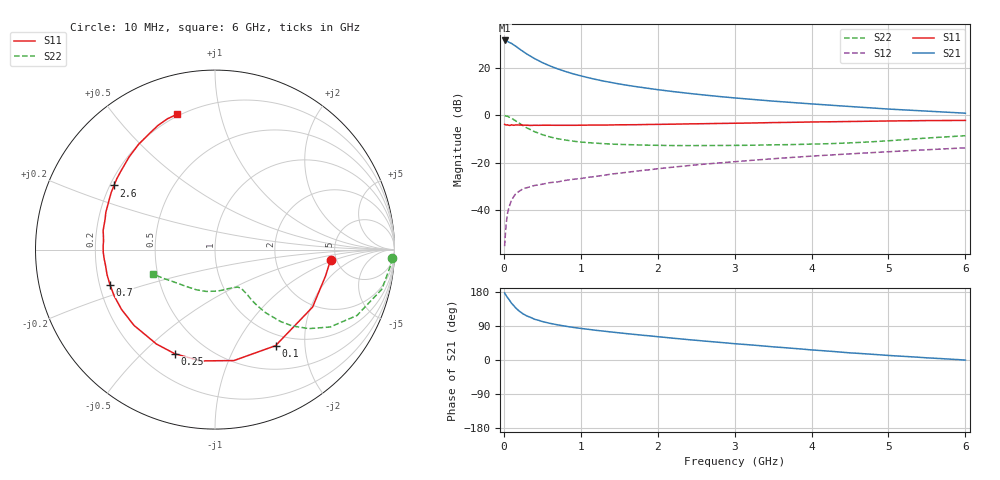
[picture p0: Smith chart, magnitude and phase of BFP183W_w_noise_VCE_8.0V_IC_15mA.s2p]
! Infineon Technologies  Discrete & RF Semiconductors
! BFP183W
! VCE =  8.0 V,  IC =  15 mA
! Common Emitter S-Parameters:  Jan 2017
# GHz  S  MA  R  50
!  f  S11  S21  S12  S22
! GHz  MAG  ANG  MAG  ANG  MAG  ANG  MAG  ANG
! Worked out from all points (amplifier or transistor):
!   77 points, 10 MHz to 6 GHz, reference 50 ohm
!   highest |S21| = 31.7 dB at 10 MHz (marker M1)
!   |S21| within 3 dB of that: start of sweep to 178 MHz
!   unconditionally stable (mu >= 1): 1.43 GHz to 3.721 GHz
!   at 130 MHz: K = 0.18, MSG = 32.1 dB, |S12| = -34.3 dB
!   at 2.2 GHz: K = 1.06, MAG = 14.5 dB, |S12| = -21.9 dB
!   at 6 GHz: K = 0.85, MSG = 7.3 dB, |S12| = -13.8 dB
!   lowest NFmin = 1.05 dB at 450 MHz
!   S11 on the Smith chart (normalised r, x): 10 MHz: 4.46, -0.91; 100 MHz: 0.83, -1.47; 250 MHz: 0.33, -0.63; 700 MHz: 0.24, -0.15; 2.6 GHz: 0.22, +0.28; 6 GHz: 0.19, +0.74
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0.01  0.6463 -5.3  38.59 177.1  0.0017 95.6  0.9881 -2.7
0.02  0.6328 -13.6  37.89 173.2  0.003 92.8  0.9814 -5.4
0.05  0.631 -30.5  36.73 164.0  0.0088 74.8  0.9554 -13.4
0.1  0.6327 -57.8  33.41 149.8  0.016 66.5  0.8722 -24.9
0.15  0.6271 -80.3  29.48 138.3  0.0214 58.8  0.7732 -33.9
0.2  0.6254 -97.3  25.73 129.0  0.0248 53.0  0.6834 -40.1
0.25  0.6219 -111.2  22.55 121.7  0.028 47.6  0.6059 -44.6
0.3  0.619 -121.8  19.84 116.1  0.0294 45.8  0.5412 -47.7
0.4  0.6181 -136.9  15.91 107.5  0.0328 43.0  0.4507 -51.3
0.5  0.6183 -147.4  13.11 101.5  0.0349 42.8  0.3905 -53.0
0.6  0.6183 -155.3  11.15 96.7  0.0377 43.0  0.3493 -54.0
0.7  0.617 -161.6  9.641 92.8  0.039 44.0  0.3201 -54.2
0.9  0.6161 -171.4  7.583 86.1  0.0443 46.7  0.2846 -55.1
1.1  0.6227 -178.4  6.266 80.9  0.0489 49.3  0.2648 -55.9
1.3  0.623 175.4  5.317 76.1  0.0539 50.8  0.2521 -57.4
1.5  0.6322 170.3  4.626 71.7  0.0597 52.1  0.2429 -59.5
2.1  0.6479 156.8  3.347 59.6  0.0771 54.7  0.2309 -69.4
2.6  0.6667 147.6  2.704 50.1  0.0925 54.6  0.2296 -80.6
3.1  0.685 139.1  2.271 41.5  0.1077 53.3  0.232 -92.5
4.1  0.7277 124.6  1.706 25.2  0.1403 49.6  0.2486 -117.8
5.1  0.7639 113.7  1.334 10.8  0.1733 44.6  0.2977 -143.6
6  0.7831 105.5  1.112 -0.2  0.2051 39.2  0.3709 -158.4
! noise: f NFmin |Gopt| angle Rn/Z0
0.45  1.05  0.15  158  0.1
0.9  1.09  0.21  163  0.09
1.9  1.56  0.39  -168  0.08
2.4  1.8  0.44  -161  0.11
